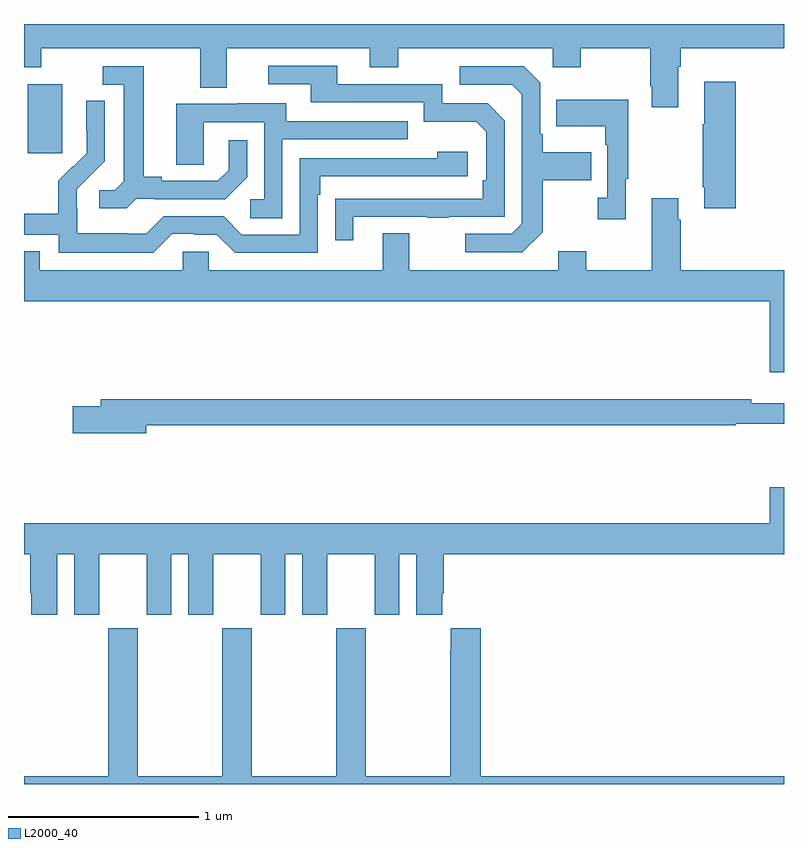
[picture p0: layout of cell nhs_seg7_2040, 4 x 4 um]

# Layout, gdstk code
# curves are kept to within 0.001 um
import gdstk
lib = gdstk.Library(unit=1e-6, precision=1e-09)
def R(c, l, rs):  # rectangles x0, y0, x1, y1
    for r in rs: c.add(gdstk.rectangle(r[:2], r[2:], *l))
def P(c, l, *ps):  # polygons
    for p in ps: c.add(gdstk.Polygon(p, *l))
L2000_40 = (2000, 40)

nhs_seg7_2040 = lib.new_cell('nhs_seg7_2040')
R(nhs_seg7_2040, L2000_40, [(245.021,1077.321,245.2,1077.682)])
P(nhs_seg7_2040, L2000_40, [(248.443,1077.776),(248.456,1077.776),(248.456,1077.872),(249,1077.872),(249,1078),(245,1078),(245,1077.773),(245.091,1077.773),(245.091,1077.872),(245.927,1077.872),(245.927,1077.664),(246.067,1077.664),(246.067,1077.872),(246.821,1077.872),(246.821,1077.773),(246.969,1077.773),(246.969,1077.872),(247.782,1077.872),(247.782,1077.773),(247.929,1077.773),(247.929,1077.872),(248.296,1077.872),(248.296,1077.673),(248.303,1077.673),(248.303,1077.561),(248.443,1077.561)],
  [(246.733,1076.985),(247.123,1076.985),(247.123,1076.98),(247.235,1076.98),(247.235,1076.985),(247.53,1076.985),(247.53,1077.492),(247.44,1077.582),(247.2,1077.582),(247.2,1077.684),(246.649,1077.684),(246.649,1077.78),(246.285,1077.78),(246.285,1077.684),(246.509,1077.684),(246.509,1077.588),(247.104,1077.588),(247.104,1077.485),(247.381,1077.485),(247.434,1077.432),(247.434,1077.178),(247.414,1077.178),(247.414,1077.081),(246.637,1077.08),(246.637,1076.862),(246.733,1076.862)],
  [(247.729,1076.905),(247.729,1077.178),(247.985,1077.178),(247.985,1077.325),(247.729,1077.325),(247.729,1077.421),(247.716,1077.421),(247.716,1077.69),(247.629,1077.777),(247.293,1077.777),(247.293,1077.681),(247.569,1077.681),(247.62,1077.63),(247.62,1076.949),(247.566,1076.895),(247.323,1076.895),(247.323,1076.799),(247.623,1076.799)],
  [(245.592,1077.081),(245.686,1077.081),(245.686,1077.078),(246.058,1077.078),(246.174,1077.194),(246.174,1077.388),(246.077,1077.388),(246.077,1077.231),(246.02,1077.174),(245.725,1077.174),(245.725,1077.197),(245.629,1077.197),(245.629,1077.777),(245.415,1077.777),(245.415,1077.681),(245.525,1077.681),(245.525,1077.173),(245.478,1077.126),(245.397,1077.126),(245.397,1077.029),(245.54,1077.029)],
  [(248.747,1077.697),(248.579,1077.697),(248.579,1077.473),(248.572,1077.473),(248.572,1077.142),(248.579,1077.142),(248.579,1077.03),(248.747,1077.03)],
  [(248.167,1077.185),(248.179,1077.185),(248.179,1077.601),(247.801,1077.601),(247.801,1077.461),(248.058,1077.461),(248.058,1077.365),(248.07,1077.365),(248.07,1077.086),(248.019,1077.086),(248.019,1076.973),(248.167,1076.973)],
  [(245.781,1076.895),(245.897,1076.895),(245.897,1076.892),(246.015,1076.892),(246.111,1076.796),(246.546,1076.796),(246.546,1077.101),(246.559,1077.101),(246.559,1077.198),(247.336,1077.198),(247.336,1077.328),(247.175,1077.328),(247.175,1077.294),(246.45,1077.294),(246.45,1076.892),(246.147,1076.892),(246.051,1076.988),(245.736,1076.988),(245.643,1076.895),(245.543,1076.895),(245.543,1076.899),(245.28,1076.899),(245.28,1077.033),(245.278,1077.033),(245.278,1077.13),(245.424,1077.278),(245.424,1077.596),(245.328,1077.596),(245.328,1077.442),(245.33,1077.442),(245.33,1077.32),(245.259,1077.249),(245.256,1077.252),(245.179,1077.175),(245.179,1077.001),(245,1077.001),(245,1076.892),(245.184,1076.892),(245.184,1076.795),(245.681,1076.795)],
  [(246.36,1077.393),(247.019,1077.393),(247.019,1077.489),(246.379,1077.489),(246.379,1077.583),(246.125,1077.583),(246.125,1077.579),(245.801,1077.579),(245.801,1077.259),(245.946,1077.259),(245.946,1077.483),(246.264,1077.483),(246.264,1077.078),(246.192,1077.078),(246.192,1076.977),(246.36,1076.977)],
  [(249,1076.704),(248.456,1076.704),(248.456,1076.969),(248.443,1076.969),(248.443,1077.082),(248.303,1077.082),(248.303,1076.704),(247.959,1076.704),(247.959,1076.803),(247.811,1076.803),(247.811,1076.704),(247.027,1076.704),(247.027,1076.899),(246.887,1076.899),(246.887,1076.704),(245.973,1076.704),(245.973,1076.802),(245.835,1076.802),(245.835,1076.704),(245.083,1076.704),(245.083,1076.803),(245,1076.803),(245,1076.54),(248.924,1076.54),(248.924,1076.166),(249,1076.166)],
  [(245.644,1075.888),(248.745,1075.888),(248.745,1075.896),(249,1075.896),(249,1076.005),(248.828,1076.005),(248.828,1076.024),(245.405,1076.024),(245.405,1075.988),(245.256,1075.988),(245.256,1075.846),(245.644,1075.846)],
  [(245.176,1075.208),(245.264,1075.208),(245.264,1074.891),(245.395,1074.891),(245.395,1075.208),(245.645,1075.208),(245.645,1074.891),(245.776,1074.891),(245.776,1075.208),(245.864,1075.208),(245.864,1074.891),(245.995,1074.891),(245.995,1075.208),(246.245,1075.208),(246.245,1074.891),(246.376,1074.891),(246.376,1075.208),(246.464,1075.208),(246.464,1074.891),(246.595,1074.891),(246.595,1075.208),(246.845,1075.208),(246.845,1074.891),(246.976,1074.891),(246.976,1075.208),(247.064,1075.208),(247.064,1074.891),(247.201,1074.891),(247.201,1075.003),(247.208,1075.003),(247.208,1075.208),(249,1075.208),(249,1075.561),(248.924,1075.561),(248.924,1075.372),(245,1075.372),(245,1075.208),(245.033,1075.208),(245.033,1075.003),(245.039,1075.003),(245.039,1074.891),(245.176,1074.891)],
  [(249,1074.04),(247.403,1074.04),(247.403,1074.82),(247.247,1074.82),(247.247,1074.707),(247.243,1074.707),(247.243,1074.04),(246.798,1074.04),(246.798,1074.82),(246.643,1074.82),(246.643,1074.04),(246.198,1074.04),(246.198,1074.82),(246.043,1074.82),(246.043,1074.04),(245.598,1074.04),(245.598,1074.82),(245.443,1074.82),(245.443,1074.04),(245,1074.04),(245,1074),(249,1074)])

lib.write_gds('nhs_seg7_2040.gds')
